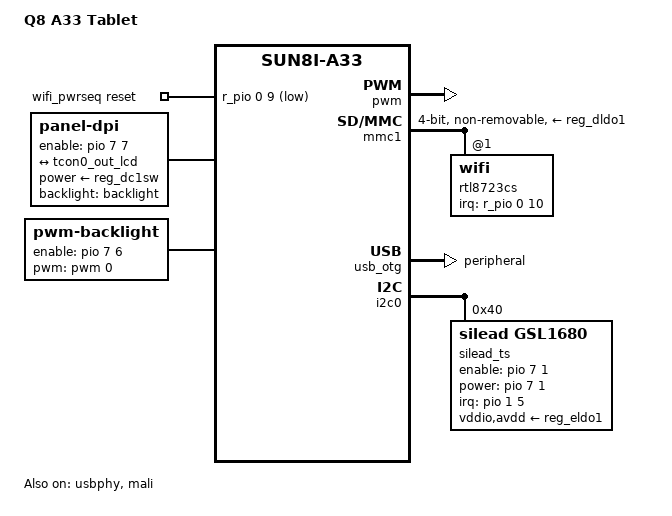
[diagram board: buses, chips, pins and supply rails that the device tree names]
/*
 * Copyright 2015 Hans de Goede <hdegoede@redhat.com>
 *
 * This file is dual-licensed: you can use it either under the terms
 * of the GPL or the X11 license, at your option. Note that this dual
 * licensing only applies to this file, and not this project as a
 * whole.
 *
 *  a) This file is free software; you can redistribute it and/or
 *     modify it under the terms of the GNU General Public License as
 *     published by the Free Software Foundation; either version 2 of the
 *     License, or (at your option) any later version.
 *
 *     This file is distributed in the hope that it will be useful,
 *     but WITHOUT ANY WARRANTY; without even the implied warranty of
 *     MERCHANTABILITY or FITNESS FOR A PARTICULAR PURPOSE.  See the
 *     GNU General Public License for more details.
 *
 * Or, alternatively,
 *
 *  b) Permission is hereby granted, free of charge, to any person
 *     obtaining a copy of this software and associated documentation
 *     files (the "Software"), to deal in the Software without
 *     restriction, including without limitation the rights to use,
 *     copy, modify, merge, publish, distribute, sublicense, and/or
 *     sell copies of the Software, and to permit persons to whom the
 *     Software is furnished to do so, subject to the following
 *     conditions:
 *
 *     The above copyright notice and this permission notice shall be
 *     included in all copies or substantial portions of the Software.
 *
 *     THE SOFTWARE IS PROVIDED "AS IS", WITHOUT WARRANTY OF ANY KIND,
 *     EXPRESS OR IMPLIED, INCLUDING BUT NOT LIMITED TO THE WARRANTIES
 *     OF MERCHANTABILITY, FITNESS FOR A PARTICULAR PURPOSE AND
 *     NONINFRINGEMENT. IN NO EVENT SHALL THE AUTHORS OR COPYRIGHT
 *     HOLDERS BE LIABLE FOR ANY CLAIM, DAMAGES OR OTHER LIABILITY,
 *     WHETHER IN AN ACTION OF CONTRACT, TORT OR OTHERWISE, ARISING
 *     FROM, OUT OF OR IN CONNECTION WITH THE SOFTWARE OR THE USE OR
 *     OTHER DEALINGS IN THE SOFTWARE.
 */

// __version__: 1.2.1
/dts-v1/;
#include "sun8i-a33.dtsi"
#include "sun8i-q8-common.dtsi"

/ {
    model = "Q8 A33 Tablet";
    compatible = "allwinner,q8-a33", "allwinner,sun8i-a33";

    wifi_pwrseq: wifi_pwrseq {
        compatible = "mmc-pwrseq-simple";
        /* PL9 is the WL_REG_ON pin from your FEX */
        reset-gpios = <&r_pio 0 9 GPIO_ACTIVE_LOW>;
    };

    /* Physical 1024x600 LCD Panel */
    panel: panel {
        compatible = "panel-dpi";
        /* Power2 maps to AXP223 DC1SW */
        power-supply = <&reg_dc1sw>;
        /* lcd_gpio_0 maps to PH7 */
        enable-gpios = <&pio 7 7 GPIO_ACTIVE_HIGH>; 
        backlight = <&backlight>;

        width-mm = <155>;
        height-mm = <86>;

        panel-timing {
            clock-frequency = <51000000>;
            hactive = <1024>;
            vactive = <600>;
            hfront-porch = <150>;
            hback-porch = <160>;
            hsync-len = <10>;
            vfront-porch = <7>;
            vback-porch = <23>;
            vsync-len = <5>;
        };

        port {
            panel_input: endpoint {
                remote-endpoint = <&tcon0_out_lcd>;
            };
        };
    };

    /* LCD Backlight */
    backlight: backlight {
        compatible = "pwm-backlight";
        /* lcd_pwm_freq = 10000Hz (100,000ns period) */
        pwms = <&pwm 0 100000 0>;
        brightness-levels = <0 10 20 30 40 50 60 70 80 90 100>;
        default-brightness-level = <8>;
        /* lcd_bl_en = port:PH06 */
        enable-gpios = <&pio 7 6 GPIO_ACTIVE_HIGH>; 
    };
};

&pio {
    usb0_id_pin: usb0-id-pin {
        pins = "PH8";
        function = "gpio_in";
        bias-pull-up; /* 3.3V resting state for the OTG cable to ground */
    };
};

/* Display Output to Panel */
&tcon0_out {
    tcon0_out_lcd: endpoint@0 {
        reg = <0>;
        remote-endpoint = <&panel_input>;
    };
};

/* Enable the PWM controller for the backlight */
&pwm {
    pinctrl-names = "default";
    pinctrl-0 = <&pwm0_pin>;
    status = "okay";
};

/* Wi-Fi SDIO Bus */
&mmc1 {
    vmmc-supply = <&reg_dldo1>;
    vqmmc-supply = <&reg_dldo2>;
    mmc-pwrseq = <&wifi_pwrseq>;
    bus-width = <4>;
    non-removable;
    status = "okay";

    rtl8723cs: wifi@1 {
        reg = <1>;
        interrupt-parent = <&r_pio>;
        /* PL10 is the WL_HOST_WAKE pin */
        interrupts = <0 10 IRQ_TYPE_LEVEL_LOW>;
        interrupt-names = "host-wake";
    };
};

/* USB Subsystem */
&usb_power_supply {
    status = "okay";
};

/* USB Physical Layer (Peripheral Mode) */
&usbphy {
    /* Stop sending 5V out! */
    /delete-property/ usb0_vbus-supply; 
    
    /* Safely detect incoming 5V from the PC */
    usb0_vbus_power-supply = <&usb_power_supply>;
    status = "okay";
};

/* USB Controller (Peripheral Mode) */
&usb_otg {
    compatible = "allwinner,sun8i-a33-musb";
    /* Act as a slave */
    dr_mode = "peripheral";
    status = "okay";
};

/* Hardware Graphics Acceleration Regulator (Mali) */
&mali {
    mali-supply = <&reg_dcdc1>;
    /* Bypass the missing voltage table bug */
    /delete-property/ operating-points-v2;
    status = "okay";
};

/* Capacitive Touch Screen (Silead) */
&i2c0 {
    status = "okay";

    silead_ts: touchscreen@40 {
        /* Strictly use the gsl1680 string so the Linux driver matches it */
        compatible = "silead,gsl1680";
        reg = <0x40>;
        
        /* CRITICAL: Force the node to wake up and override the base DTSI */
        status = "okay";

        /* The Silead driver expects both of these power supplies defined */
        vddio-supply = <&reg_eldo1>;
        avdd-supply = <&reg_eldo1>;

        /* Interrupt Pin: PB05 (Bank B=1, Pin 5) */
        interrupt-parent = <&pio>;
        interrupts = <1 5 IRQ_TYPE_EDGE_FALLING>;

        /* Wake/Power Pin: PH01 (Bank H=7, Pin 1) */
        enable-gpios = <&pio 7 1 GPIO_ACTIVE_HIGH>;
        power-gpios = <&pio 7 1 GPIO_ACTIVE_HIGH>;

        /* The true raw boundaries of the physical glass */
        touchscreen-size-x = <1450>;
        touchscreen-size-y = <750>;

        /* Add deadzone to convert drags into clicks */
        /* touchscreen-fuzz-x = <15>; */
        /* touchscreen-fuzz-y = <15>; */
    };
};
